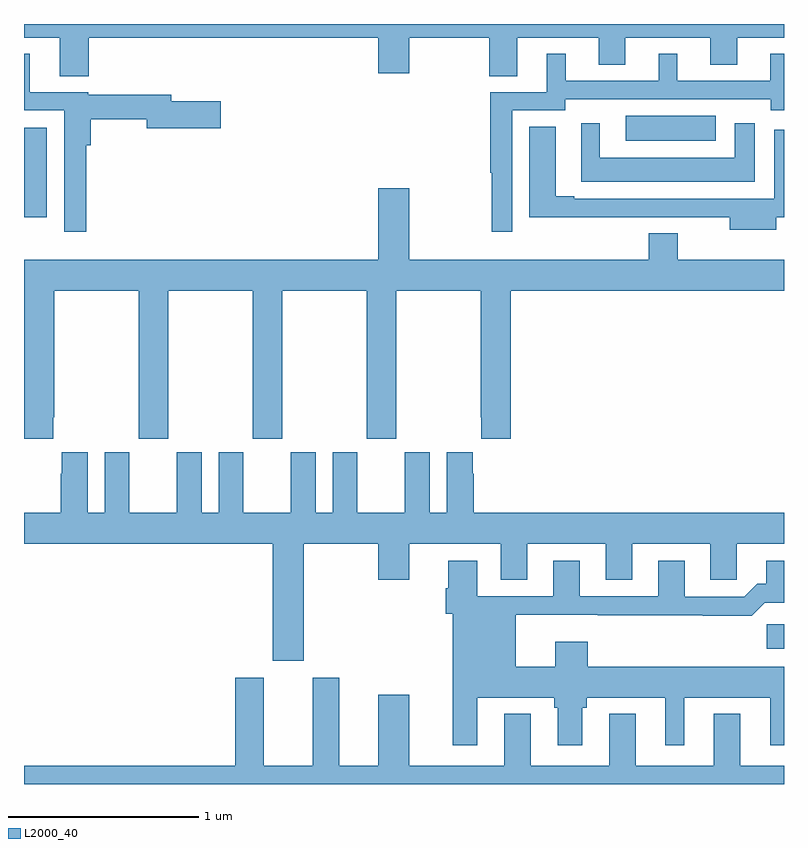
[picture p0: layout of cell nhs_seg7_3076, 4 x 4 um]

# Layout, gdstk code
import gdstk
lib = gdstk.Library(unit=1e-6, precision=1e-09)
def R(c, l, rs):  # rectangles x0, y0, x1, y1
    for r in rs: c.add(gdstk.rectangle(r[:2], r[2:], *l))
def P(c, l, *ps):  # polygons
    for p in ps: c.add(gdstk.Polygon(p, *l))
L2000_40 = (2000, 40)

nhs_seg7_3076 = lib.new_cell('nhs_seg7_3076')
R(nhs_seg7_3076, L2000_40, [(310.908,1018.712,311,1018.841), (307,1020.982,307.12,1021.453), (310.167,1021.385,310.642,1021.516)])
P(nhs_seg7_3076, L2000_40, [(307.34,1021.928),(308.864,1021.928),(308.864,1021.74),(309.028,1021.74),(309.028,1021.928),(309.448,1021.928),(309.448,1021.726),(309.595,1021.726),(309.595,1021.928),(310.025,1021.928),(310.025,1021.786),(310.165,1021.786),(310.165,1021.928),(310.613,1021.928),(310.613,1021.786),(310.753,1021.786),(310.753,1021.928),(311,1021.928),(311,1022),(307,1022),(307,1021.928),(307.187,1021.928),(307.187,1021.726),(307.34,1021.726)],
  [(307.328,1021.361),(307.35,1021.361),(307.35,1021.498),(307.646,1021.498),(307.646,1021.451),(308.035,1021.451),(308.035,1021.593),(307.774,1021.593),(307.774,1021.627),(307.338,1021.627),(307.338,1021.641),(307.03,1021.641),(307.03,1021.843),(307,1021.843),(307,1021.545),(307.212,1021.545),(307.212,1020.906),(307.328,1020.906)],
  [(309.57,1021.545),(309.849,1021.545),(309.849,1021.605),(310.929,1021.605),(310.929,1021.545),(311,1021.545),(311,1021.843),(310.928,1021.843),(310.928,1021.701),(310.438,1021.701),(310.438,1021.843),(310.34,1021.843),(310.34,1021.701),(309.85,1021.701),(309.85,1021.843),(309.752,1021.843),(309.752,1021.641),(309.454,1021.641),(309.454,1021.218),(309.462,1021.218),(309.462,1020.906),(309.57,1020.906)],
  [(310.846,1021.477),(310.742,1021.477),(310.742,1021.297),(310.03,1021.297),(310.03,1021.477),(309.932,1021.477),(309.932,1021.169),(310.846,1021.169)],
  [(310.96,1020.982),(311,1020.982),(311,1021.444),(310.949,1021.444),(310.949,1021.08),(309.895,1021.08),(309.895,1021.093),(309.799,1021.093),(309.799,1021.459),(309.659,1021.459),(309.659,1020.982),(310.205,1020.982),(310.205,1020.984),(310.715,1020.984),(310.715,1020.917),(310.96,1020.917)],
  [(307.153,1019.929),(307.158,1019.929),(307.158,1020.596),(307.603,1020.596),(307.603,1019.817),(307.758,1019.817),(307.758,1020.596),(308.203,1020.596),(308.203,1019.817),(308.358,1019.817),(308.358,1020.596),(308.803,1020.596),(308.803,1019.817),(308.958,1019.817),(308.958,1020.596),(309.403,1020.596),(309.403,1019.929),(309.407,1019.929),(309.407,1019.817),(309.563,1019.817),(309.563,1020.596),(311,1020.596),(311,1020.76),(310.441,1020.76),(310.441,1020.899),(310.289,1020.899),(310.289,1020.76),(309.028,1020.76),(309.028,1021.135),(308.864,1021.135),(308.864,1020.76),(307,1020.76),(307,1019.817),(307.153,1019.817)],
  [(308.309,1018.65),(308.473,1018.65),(308.473,1019.264),(308.864,1019.264),(308.864,1019.076),(309.028,1019.076),(309.028,1019.264),(309.509,1019.264),(309.509,1019.074),(309.649,1019.074),(309.649,1019.264),(310.061,1019.264),(310.061,1019.074),(310.201,1019.074),(310.201,1019.264),(310.613,1019.264),(310.613,1019.074),(310.752,1019.074),(310.752,1019.264),(311,1019.264),(311,1019.428),(309.368,1019.428),(309.368,1019.633),(309.361,1019.633),(309.361,1019.746),(309.224,1019.746),(309.224,1019.428),(309.136,1019.428),(309.136,1019.746),(309.005,1019.746),(309.005,1019.428),(308.755,1019.428),(308.755,1019.746),(308.624,1019.746),(308.624,1019.428),(308.536,1019.428),(308.536,1019.746),(308.405,1019.746),(308.405,1019.428),(308.155,1019.428),(308.155,1019.746),(308.024,1019.746),(308.024,1019.428),(307.936,1019.428),(307.936,1019.746),(307.805,1019.746),(307.805,1019.428),(307.555,1019.428),(307.555,1019.746),(307.424,1019.746),(307.424,1019.428),(307.336,1019.428),(307.336,1019.746),(307.199,1019.746),(307.199,1019.633),(307.193,1019.633),(307.193,1019.428),(307,1019.428),(307,1019.264),(308.309,1019.264)],
  [(309.385,1018.454),(309.79,1018.454),(309.79,1018.401),(309.809,1018.401),(309.809,1018.203),(309.937,1018.203),(309.937,1018.401),(309.963,1018.401),(309.963,1018.454),(310.376,1018.454),(310.376,1018.203),(310.474,1018.203),(310.474,1018.454),(310.928,1018.454),(310.928,1018.203),(311,1018.203),(311,1018.618),(309.968,1018.618),(309.968,1018.75),(309.797,1018.75),(309.797,1018.618),(309.589,1018.618),(309.589,1018.892),(310.021,1018.892),(310.021,1018.888),(310.573,1018.888),(310.573,1018.886),(310.829,1018.886),(310.898,1018.955),(311,1018.955),(311,1019.176),(310.907,1019.176),(310.907,1019.053),(310.858,1019.053),(310.791,1018.986),(310.477,1018.986),(310.477,1019.176),(310.337,1019.176),(310.337,1018.989),(309.925,1018.989),(309.925,1019.176),(309.785,1019.176),(309.785,1018.989),(309.385,1018.989),(309.385,1019.176),(309.233,1019.176),(309.233,1019.03),(309.221,1019.03),(309.221,1018.896),(309.257,1018.896),(309.257,1018.203),(309.385,1018.203)],
  [(311,1018.096),(310.771,1018.096),(310.771,1018.369),(310.631,1018.369),(310.631,1018.096),(310.219,1018.096),(310.219,1018.369),(310.079,1018.369),(310.079,1018.096),(309.667,1018.096),(309.667,1018.369),(309.527,1018.369),(309.527,1018.096),(309.028,1018.096),(309.028,1018.471),(308.864,1018.471),(308.864,1018.096),(308.659,1018.096),(308.659,1018.558),(308.519,1018.558),(308.519,1018.096),(308.263,1018.096),(308.263,1018.558),(308.111,1018.558),(308.111,1018.096),(307,1018.096),(307,1018),(311,1018)])

lib.write_gds('nhs_seg7_3076.gds')
